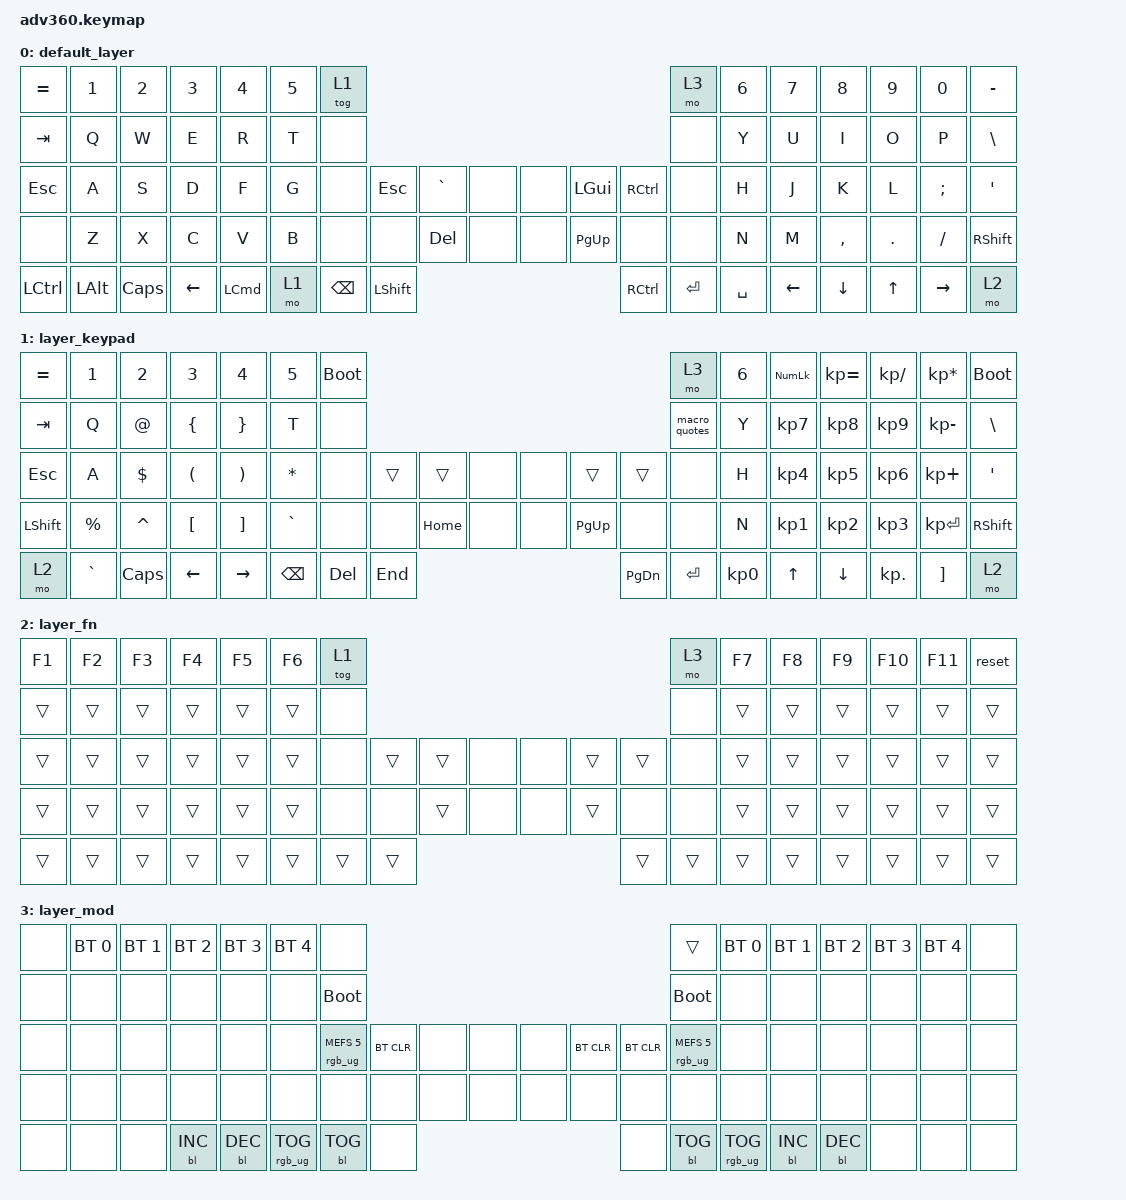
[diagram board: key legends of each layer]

/*
 * Copyright (c) 2020 The ZMK Contributors
 *
 * SPDX-License-Identifier: MIT
 */


/* THIS FILE WAS GENERATED!
 *
 * This file was generated automatically. You may or may not want to
 * edit it directly.
 */

#include <behaviors.dtsi>
#include <dt-bindings/zmk/keys.h>
#include <dt-bindings/zmk/bt.h>
#include <dt-bindings/zmk/rgb.h>
#include <dt-bindings/zmk/backlight.h>

/ {
  behaviors {
    #include "macros.dtsi"

    hm: homerow_mods {
        compatible = "zmk,behavior-hold-tap";
        label = "HOMEROW_MODS";
        #binding-cells = <2>;
        tapping-term-ms = <200>;
        quick_tap_ms = <175>;
        flavor = "tap-preferred";
        bindings = <&kp>, <&kp>;
    };
  };

    keymap {
        compatible = "zmk,keymap";


        default_layer {
            bindings = <
 &kp EQUAL        &kp N1    &kp N2    &kp N3    &kp N4  &kp N5            &tog 1                                                                           &mo 3  &kp N6    &kp N7     &kp N8   &kp N9     &kp N0  &kp MINUS
   &kp TAB         &kp Q     &kp W     &kp E     &kp R   &kp T             &none                                                                           &none   &kp Y     &kp U      &kp I    &kp O      &kp P   &kp BSLH
   &kp ESC         &kp A     &kp S     &kp D     &kp F   &kp G             &none        &kp ESC       &kp GRAVE   &none   &none   &kp LGUI  &kp RCTRL      &none   &kp H     &kp J      &kp K    &kp L   &kp SEMI    &kp SQT
     &none         &kp Z     &kp X     &kp C     &kp V   &kp B             &none          &none      &kp DELETE   &none   &none  &kp PG_UP      &none      &none   &kp N     &kp M  &kp COMMA  &kp DOT   &kp FSLH  &kp RSHFT
 &kp LCTRL  &kp LEFT_ALT  &kp CAPS  &kp LEFT  &kp LCMD                     &mo 1  &kp BACKSPACE  &kp LEFT_SHIFT                  &kp RCTRL  &kp ENTER  &kp SPACE          &kp LEFT   &kp DOWN   &kp UP  &kp RIGHT      &mo 2
            >;
        };

        layer_keypad {
            bindings = <
 &kp EQUAL       &kp N1      &kp N2                &kp N3                 &kp N4        &kp N5            &bootloader                                                                   &mo 3  &kp N6  &kp KP_NUM  &kp KP_EQUAL  &kp KP_DIVIDE  &kp KP_MULTIPLY  &bootloader
   &kp TAB        &kp Q      &kp AT        &kp LEFT_BRACE        &kp RIGHT_BRACE         &kp T                  &none                                                           &macro_quotes   &kp Y   &kp KP_N7     &kp KP_N8      &kp KP_N9     &kp KP_MINUS     &kp BSLH
   &kp ESC        &kp A  &kp DOLLAR  &kp LEFT_PARENTHESIS  &kp RIGHT_PARENTHESIS  &kp ASTERISK                  &none   &trans    &trans   &none   &none     &trans     &trans          &none   &kp H   &kp KP_N4     &kp KP_N5      &kp KP_N6      &kp KP_PLUS      &kp SQT
 &kp LSHFT  &kp PERCENT   &kp CARET      &kp LEFT_BRACKET      &kp RIGHT_BRACKET     &kp GRAVE                  &none    &none  &kp HOME   &none   &none  &kp PG_UP      &none          &none   &kp N   &kp KP_N1     &kp KP_N2      &kp KP_N3     &kp KP_ENTER    &kp RSHFT
     &mo 2    &kp GRAVE    &kp CAPS              &kp LEFT              &kp RIGHT                             &kp BSPC  &kp DEL   &kp END                  &kp PG_DN  &kp ENTER      &kp KP_N0              &kp UP      &kp DOWN     &kp KP_DOT         &kp RBKT        &mo 2
            >;
        };

        layer_fn {
            bindings = <
 &kp F1  &kp F2  &kp F3  &kp F4  &kp F5  &kp F6            &tog 1                                                   &mo 3  &kp F7  &kp F8  &kp F9  &kp F10  &kp F11  &reset
 &trans  &trans  &trans  &trans  &trans  &trans             &none                                                   &none  &trans  &trans  &trans   &trans   &trans  &trans
 &trans  &trans  &trans  &trans  &trans  &trans             &none  &trans  &trans   &none   &none  &trans  &trans   &none  &trans  &trans  &trans   &trans   &trans  &trans
 &trans  &trans  &trans  &trans  &trans  &trans             &none   &none  &trans   &none   &none  &trans   &none   &none  &trans  &trans  &trans   &trans   &trans  &trans
 &trans  &trans  &trans  &trans  &trans                    &trans  &trans  &trans                  &trans  &trans  &trans          &trans  &trans   &trans   &trans  &trans
            >;
        };

        layer_mod {
            bindings = <
  &none  &bt BT_SEL 0  &bt BT_SEL 1  &bt BT_SEL 2  &bt BT_SEL 3  &bt BT_SEL 4                             &none                                                                              &trans  &bt BT_SEL 0  &bt BT_SEL 1  &bt BT_SEL 2  &bt BT_SEL 3  &bt BT_SEL 4   &none
  &none         &none         &none         &none         &none         &none                       &bootloader                                                                         &bootloader         &none         &none         &none         &none         &none   &none
  &none         &none         &none         &none         &none         &none            &rgb_ug RGB_MEFS_CMD 5  &bt BT_CLR   &none   &none   &none  &bt BT_CLR  &bt BT_CLR  &rgb_ug RGB_MEFS_CMD 5         &none         &none         &none         &none         &none   &none
  &none         &none         &none         &none         &none         &none                             &none       &none   &none   &none   &none       &none       &none                   &none         &none         &none         &none         &none         &none   &none
  &none         &none         &none    &bl BL_INC    &bl BL_DEC                                 &rgb_ug RGB_TOG  &bl BL_TOG   &none                       &none  &bl BL_TOG         &rgb_ug RGB_TOG                  &bl BL_INC    &bl BL_DEC         &none         &none   &none
            >;
        };

    };
};
